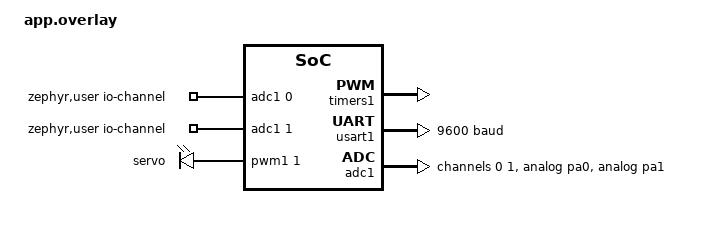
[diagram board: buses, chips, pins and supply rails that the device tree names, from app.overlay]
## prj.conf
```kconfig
CONFIG_GPIO=y

# Added automatically by Workbench for Zephyr
#--- DEBUG PRESET - BEGIN ---#
# Set to -Og
CONFIG_DEBUG_OPTIMIZATIONS=y
# Thread awareness support
CONFIG_DEBUG_THREAD_INFO=y
# Generate stack usage per-function
CONFIG_STACK_USAGE=y
# Other options in case not set by default
CONFIG_BUILD_OUTPUT_HEX=y
CONFIG_BUILD_OUTPUT_META=y
CONFIG_OUTPUT_SYMBOLS=y
CONFIG_OUTPUT_STAT=y
CONFIG_OUTPUT_DISASSEMBLY=y
CONFIG_OUTPUT_PRINT_MEMORY_USAGE=y
#--- DEBUG PRESET - END ---#
CONFIG_GPIO=y
CONFIG_PWM=y
CONFIG_LOG=y
CONFIG_RTC=y
CONFIG_ADC=y
CONFIG_JSON_LIBRARY=y
CONFIG_SERIAL=y
CONFIG_UART_INTERRUPT_DRIVEN=y
```

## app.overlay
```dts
#include <zephyr/dt-bindings/pinctrl/stm32-pinctrl.h>
#include <zephyr/dt-bindings/timer/stm32-timer.h>
#include <zephyr/dt-bindings/gpio/gpio.h>
#include <zephyr/dt-bindings/pwm/pwm.h>
#include <zephyr/dt-bindings/adc/adc.h>
/{
	zephyr,user{

		//definicion de la lectura de voltaje para el aclerometro analogo
		io-channels = <&adc1 0>, <&adc1 1>;
		io-channels-names = "acelerometro_positivo","acelerometro_negativo";
	};

	servo_direccion_pwm{
		compatible = "pwm-leds";
		servo: out-pwm {
			pwms = <&pwm1 1 PWM_MSEC(20) PWM_POLARITY_NORMAL>;
		};
	};
};

&timers1 {
	status = "okay";
	st,prescaler = <83>;
	pwm1: pwm{
		status = "okay";
		pinctrl-0 = <&tim1_ch1_pa8>;
		pinctrl-names = "default";
	};
};

&usart1{
	status = "okay";
	current-speed = <9600>;
};

&adc1 {
	#address-cells = <1>;
	#size-cells = <0>;
    	pinctrl-names = "default";
    	pinctrl-0 = <&analog_pa0 &analog_pa1>;
    	status = "okay";
	channel@0{
		reg = <0>;
		zephyr,gain = "ADC_GAIN_1";
		zephyr,reference = "ADC_REF_INTERNAL";
		zephyr,vref-mv = <3300>;
		zephyr,acquisition-time = <ADC_ACQ_TIME_DEFAULT>;
		zephyr,resolution = <12>;
	};
	channel@1{
		reg = <1>;

		zephyr,gain = "ADC_GAIN_1";
		zephyr,reference = "ADC_REF_INTERNAL";
		zephyr,vref-mv = <3300>;
		zephyr,acquisition-time = <ADC_ACQ_TIME_DEFAULT>;
		zephyr,resolution = <12>;
	};


};
```

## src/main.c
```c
/*
 * Copyright (c) 2016 Open-RnD Sp. z o.o.
 * Copyright (c) 2020 Nordic Semiconductor ASA
 *
 * SPDX-License-Identifier: Apache-2.0
 */
#include <zephyr/kernel.h>
#include <zephyr/drivers/gpio.h>
#include <zephyr/drivers/rtc.h>
#include <zephyr/devicetree.h>
#include <zephyr/drivers/adc.h>
#include <zephyr/sys/util.h>
#include <zephyr/device.h>
#include <zephyr/logging/log.h>
#include <zephyr/drivers/pwm.h>
#include <stdlib.h>
#include <math.h>
#include <zephyr/device.h>
#include <inttypes.h>
#include <zephyr/data/json.h>
```
